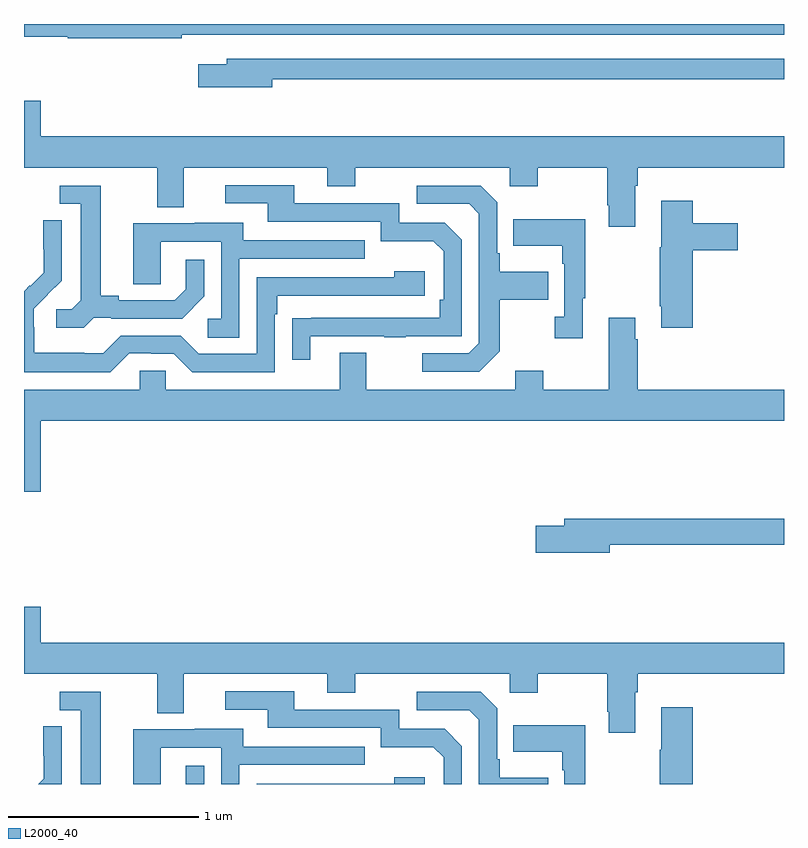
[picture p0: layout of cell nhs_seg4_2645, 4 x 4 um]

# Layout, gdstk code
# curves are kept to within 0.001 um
import gdstk
lib = gdstk.Library(unit=1e-6, precision=1e-09)
def R(c, l, rs):  # rectangles x0, y0, x1, y1
    for r in rs: c.add(gdstk.rectangle(r[:2], r[2:], *l))
def P(c, l, *ps):  # polygons
    for p in ps: c.add(gdstk.Polygon(p, *l))
L2000_40 = (2000, 40)

nhs_seg4_2645 = lib.new_cell('nhs_seg4_2645')
R(nhs_seg4_2645, L2000_40, [(249.851,802.9,249.948,802.996)])
P(nhs_seg4_2645, L2000_40, [(249.83,806.844),(253,806.844),(253,806.9),(249,806.9),(249,806.832),(249.23,806.832),(249.23,806.824),(249.83,806.824)],
  [(250.306,806.61),(253,806.61),(253,806.718),(250.067,806.718),(250.067,806.689),(249.918,806.689),(249.918,806.567),(250.306,806.567)],
  [(252.217,806.048),(252.23,806.048),(252.23,806.144),(253,806.144),(253,806.308),(249.088,806.308),(249.088,806.497),(249,806.497),(249,806.144),(249.701,806.144),(249.701,805.936),(249.841,805.936),(249.841,806.144),(250.595,806.144),(250.595,806.045),(250.743,806.045),(250.743,806.144),(251.556,806.144),(251.556,806.045),(251.703,806.045),(251.703,806.144),(252.07,806.144),(252.07,805.945),(252.077,805.945),(252.077,805.833),(252.217,805.833)],
  [(250.507,805.257),(250.897,805.257),(250.897,805.252),(251.009,805.252),(251.009,805.257),(251.304,805.257),(251.304,805.764),(251.214,805.854),(250.974,805.854),(250.974,805.956),(250.423,805.956),(250.423,806.052),(250.059,806.052),(250.059,805.956),(250.283,805.956),(250.283,805.86),(250.878,805.86),(250.878,805.757),(251.155,805.757),(251.208,805.704),(251.208,805.45),(251.188,805.45),(251.188,805.353),(250.411,805.352),(250.411,805.134),(250.507,805.134)],
  [(251.503,805.177),(251.503,805.45),(251.759,805.45),(251.759,805.597),(251.503,805.597),(251.503,805.693),(251.49,805.693),(251.49,805.962),(251.403,806.049),(251.067,806.049),(251.067,805.953),(251.343,805.953),(251.394,805.902),(251.394,805.221),(251.34,805.167),(251.097,805.167),(251.097,805.071),(251.397,805.071)],
  [(249.366,805.353),(249.46,805.353),(249.46,805.35),(249.832,805.35),(249.948,805.466),(249.948,805.66),(249.851,805.66),(249.851,805.503),(249.794,805.446),(249.499,805.446),(249.499,805.469),(249.403,805.469),(249.403,806.049),(249.189,806.049),(249.189,805.953),(249.299,805.953),(249.299,805.445),(249.252,805.398),(249.171,805.398),(249.171,805.301),(249.314,805.301)],
  [(252.521,805.709),(252.757,805.709),(252.757,805.851),(252.521,805.851),(252.521,805.969),(252.353,805.969),(252.353,805.725),(252.346,805.725),(252.346,805.414),(252.353,805.414),(252.353,805.302),(252.521,805.302)],
  [(251.941,805.457),(251.953,805.457),(251.953,805.873),(251.575,805.873),(251.575,805.733),(251.832,805.733),(251.832,805.637),(251.844,805.637),(251.844,805.358),(251.793,805.358),(251.793,805.245),(251.941,805.245)],
  [(249.555,805.167),(249.671,805.167),(249.671,805.164),(249.789,805.164),(249.885,805.068),(250.32,805.068),(250.32,805.373),(250.333,805.373),(250.333,805.47),(251.11,805.47),(251.11,805.6),(250.949,805.6),(250.949,805.566),(250.224,805.566),(250.224,805.164),(249.921,805.164),(249.825,805.26),(249.51,805.26),(249.417,805.167),(249.317,805.167),(249.317,805.171),(249.054,805.171),(249.054,805.305),(249.052,805.305),(249.052,805.402),(249.198,805.55),(249.198,805.868),(249.102,805.868),(249.102,805.714),(249.104,805.714),(249.104,805.592),(249.033,805.521),(249.03,805.524),(249,805.494),(249,805.067),(249.455,805.067)],
  [(250.134,805.665),(250.793,805.665),(250.793,805.761),(250.153,805.761),(250.153,805.855),(249.899,805.855),(249.899,805.851),(249.575,805.851),(249.575,805.531),(249.72,805.531),(249.72,805.755),(250.038,805.755),(250.038,805.35),(249.966,805.35),(249.966,805.249),(250.134,805.249)],
  [(249.088,804.812),(253,804.812),(253,804.976),(252.23,804.976),(252.23,805.241),(252.217,805.241),(252.217,805.354),(252.077,805.354),(252.077,804.976),(251.733,804.976),(251.733,805.075),(251.585,805.075),(251.585,804.976),(250.801,804.976),(250.801,805.171),(250.661,805.171),(250.661,804.976),(249.747,804.976),(249.747,805.074),(249.609,805.074),(249.609,804.976),(249,804.976),(249,804.438),(249.088,804.438)],
  [(252.082,804.16),(253,804.16),(253,804.296),(251.843,804.296),(251.843,804.26),(251.694,804.26),(251.694,804.118),(252.082,804.118)],
  [(252.217,803.384),(252.23,803.384),(252.23,803.48),(253,803.48),(253,803.644),(249.088,803.644),(249.088,803.833),(249,803.833),(249,803.48),(249.701,803.48),(249.701,803.272),(249.841,803.272),(249.841,803.48),(250.595,803.48),(250.595,803.381),(250.743,803.381),(250.743,803.48),(251.556,803.48),(251.556,803.381),(251.703,803.381),(251.703,803.48),(252.07,803.48),(252.07,803.281),(252.077,803.281),(252.077,803.169),(252.217,803.169)],
  [(251.304,803.1),(251.214,803.19),(250.974,803.19),(250.974,803.292),(250.423,803.292),(250.423,803.388),(250.059,803.388),(250.059,803.292),(250.283,803.292),(250.283,803.196),(250.878,803.196),(250.878,803.093),(251.155,803.093),(251.208,803.04),(251.208,802.9),(251.304,802.9)],
  [(251.759,802.933),(251.503,802.933),(251.503,803.029),(251.49,803.029),(251.49,803.298),(251.403,803.385),(251.067,803.385),(251.067,803.289),(251.343,803.289),(251.394,803.238),(251.394,802.9),(251.759,802.9)],
  [(249.403,803.385),(249.189,803.385),(249.189,803.289),(249.299,803.289),(249.299,802.9),(249.403,802.9)],
  [(252.521,803.305),(252.353,803.305),(252.353,803.081),(252.346,803.081),(252.346,802.9),(252.521,802.9)],
  [(251.953,803.209),(251.575,803.209),(251.575,803.069),(251.832,803.069),(251.832,802.973),(251.844,802.973),(251.844,802.9),(251.953,802.9)],
  [(249.198,803.204),(249.102,803.204),(249.102,803.05),(249.104,803.05),(249.104,802.928),(249.076,802.9),(249.198,802.9)],
  [(249.72,803.091),(250.038,803.091),(250.038,802.9),(250.134,802.9),(250.134,803.001),(250.793,803.001),(250.793,803.097),(250.153,803.097),(250.153,803.191),(249.899,803.191),(249.899,803.187),(249.575,803.187),(249.575,802.9),(249.72,802.9)],
  [(251.11,802.936),(250.949,802.936),(250.949,802.902),(250.224,802.902),(250.224,802.9),(251.11,802.9)])

lib.write_gds('nhs_seg4_2645.gds')
